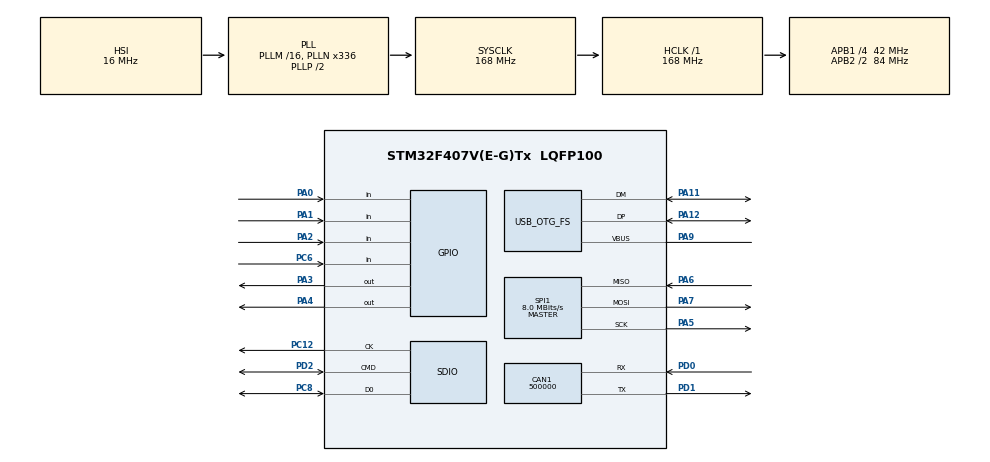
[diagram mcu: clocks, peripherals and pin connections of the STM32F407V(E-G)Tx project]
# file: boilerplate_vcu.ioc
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ADC1.Channel-1\#ChannelRegularConversion=ADC_CHANNEL_10
ADC1.Channel-2\#ChannelRegularConversion=ADC_CHANNEL_11
ADC1.Channel-3\#ChannelRegularConversion=ADC_CHANNEL_12
ADC1.Channel-4\#ChannelRegularConversion=ADC_CHANNEL_13
ADC1.Channel-5\#ChannelRegularConversion=ADC_CHANNEL_14
ADC1.Channel-6\#ChannelRegularConversion=ADC_CHANNEL_15
ADC1.ContinuousConvMode=DISABLE
ADC1.DMAContinuousRequests=ENABLE
ADC1.ExternalTrigConv=ADC_EXTERNALTRIGCONV_T2_TRGO
ADC1.ExternalTrigConvEdge=ADC_EXTERNALTRIGCONVEDGE_RISING
ADC1.InjNumberOfConversion=0
ADC1.NbrOfConversion=6
ADC1.NbrOfConversionFlag=1
ADC1.Rank-1\#ChannelRegularConversion=1
ADC1.Rank-2\#ChannelRegularConversion=2
ADC1.Rank-3\#ChannelRegularConversion=3
ADC1.Rank-4\#ChannelRegularConversion=4
ADC1.Rank-5\#ChannelRegularConversion=5
ADC1.Rank-6\#ChannelRegularConversion=6
ADC1.SamplingTime-1\#ChannelRegularConversion=ADC_SAMPLETIME_84CYCLES
ADC1.master=1
CAN1.CalculateBaudRate=500000
CAN1.CalculateTimeBit=2000
CAN1.CalculateTimeQuantum=142.85714285714286
FREERTOS.Tasks01=defaultTask,24,128,StartDefaultTask,Default,NULL,Dynamic,NULL,NULL
FREERTOS.configUSE_NEWLIB_REENTRANT=1
Mcu.Family=STM32F4
Mcu.Name=STM32F407V(E-G)Tx
Mcu.Package=LQFP100
NVIC.ADC_IRQn=true\:5\:0\:false\:false\:true\:true\:true\:true\:true
NVIC.CAN1_RX0_IRQn=true\:5\:0\:false\:false\:true\:true\:true\:true\:true
NVIC.CAN1_SCE_IRQn=true\:5\:0\:false\:false\:true\:true\:true\:true\:true
NVIC.DMA2_Stream0_IRQn=true\:5\:0\:false\:false\:true\:true\:true\:true\:true
NVIC.OTG_FS_IRQn=true\:5\:0\:false\:false\:true\:true\:true\:true\:true
NVIC.PriorityGroup=NVIC_PRIORITYGROUP_4
NVIC.SDIO_IRQn=true\:5\:0\:false\:false\:true\:true\:true\:true\:true
NVIC.SPI1_IRQn=true\:5\:0\:false\:false\:true\:true\:true\:true\:true
NVIC.TIM6_DAC_IRQn=true\:15\:0\:false\:false\:true\:false\:false\:true\:true
NVIC.TimeBase=TIM6_DAC_IRQn
NVIC.TimeBaseIP=TIM6
PA0-WKUP.Mode=GPIO_Input
PA0-WKUP.Signal=GPIO_Input
PA1.Mode=GPIO_Input
PA1.Signal=GPIO_Input
PA2.Mode=GPIO_Input
PA2.Signal=GPIO_Input
PA3.Mode=GPIO_Output
PA3.Signal=GPIO_Output
PA11.Mode=Device_Only
PA11.Signal=USB_OTG_FS_DM
PA12.Mode=Device_Only
PA12.Signal=USB_OTG_FS_DP
PA13.Mode=Trace_Asynchronous_SW
PA13.Signal=SYS_JTMS-SWDIO
PA14.Mode=Trace_Asynchronous_SW
PA14.Signal=SYS_JTCK-SWCLK
PA4.Mode=GPIO_Output
PA4.Signal=GPIO_Output
PA5.Mode=Full_Duplex_Master
PA5.Signal=SPI1_SCK
PA6.Mode=Full_Duplex_Master
PA6.Signal=SPI1_MISO
PA7.Mode=Full_Duplex_Master
PA7.Signal=SPI1_MOSI
PA9.Mode=Activate_VBUS
PA9.Signal=USB_OTG_FS_VBUS
PB3.Mode=Trace_Asynchronous_SW
PB3.Signal=SYS_JTDO-SWO
PC0.Signal=ADC1_IN10
PC1.Signal=ADC1_IN11
PC2.Signal=ADC1_IN12
PC3.Signal=ADC1_IN13
PC4.Signal=ADC1_IN14
PC5.Signal=ADC1_IN15
PC12.Mode=SD_1_bit
PC12.Signal=SDIO_CK
PC6.Signal=GPIO_Input
PC8.Mode=SD_1_bit
PC8.Signal=SDIO_D0
PD0.Mode=CAN_Activate
PD0.Signal=CAN1_RX
PD1.Mode=CAN_Activate
PD1.Signal=CAN1_TX
PD2.Mode=SD_1_bit
PD2.Signal=SDIO_CMD
ProjectManager.HeapSize=0x200
ProjectManager.StackSize=0x400
ProjectManager.TargetToolchain=STM32CubeIDE
TIM2.MasterOutputTrigger=TIM_TRGO_UPDATE
TIM2.Period=999
TIM2.Prescaler=83
RCC.AHBFreq_Value=168000000
RCC.APB1Freq_Value=42000000
RCC.APB2Freq_Value=84000000
RCC.CortexFreq_Value=168000000
RCC.HSE_VALUE=25000000
RCC.HSI_VALUE=16000000
RCC.LSE_VALUE=32768
RCC.PLLSource=RCC_PLLSOURCE_HSI
RCC.PLLSourceVirtualString=RCC_PLLSOURCE_HSI
RCC.SYSCLKFreq_VALUE=168000000
RCC.VCOOutputFreq_Value=336000000
SH.ADCx_IN10.0=ADC1_IN10,IN10
SH.ADCx_IN11.0=ADC1_IN11,IN11
SH.ADCx_IN12.0=ADC1_IN12,IN12
SH.ADCx_IN13.0=ADC1_IN13,IN13
SH.ADCx_IN14.0=ADC1_IN14,IN14
SH.ADCx_IN15.0=ADC1_IN15,IN15
SPI1.CalculateBaudRate=8.0 MBits/s
SPI1.Direction=SPI_DIRECTION_2LINES
SPI1.Mode=SPI_MODE_MASTER
SPI1.VirtualNSS=VM_NSSSOFT
SPI1.VirtualType=VM_MASTER
USB_OTG_FS.VirtualMode=Device_Only
VP_FREERTOS_VS_CMSIS_V2.Mode=CMSIS_V2
VP_IWDG_VS_IWDG.Mode=IWDG_Activate
VP_SYS_VS_tim6.Mode=TIM6
board=custom
PC0.Signal=ADC1_IN10
PC1.Signal=ADC1_IN11
PC2.Signal=ADC1_IN12
PC3.Signal=ADC1_IN13
PC4.Signal=ADC1_IN14
PC5.Signal=ADC1_IN15

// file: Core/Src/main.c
/* USER CODE BEGIN Header */
/**
  ******************************************************************************
  * @file           : main.c
  * @brief          : Main program body
  ******************************************************************************
  * @attention
  *
  * Copyright (c) 2025 STMicroelectronics.
  * All rights reserved.
  *
  * This software is licensed under terms that can be found in the LICENSE file
  * in the root directory of this software component.
  * If no LICENSE file comes with this software, it is provided AS-IS.
  *
  ******************************************************************************
  */
/* USER CODE END Header */
#include "main.h"
#include "cmsis_os.h"
#include "fatfs.h"
#include "app.h"

/* USER CODE BEGIN Includes */
#include "Peripherals/adc.h"
#include "Peripherals/can_bus.h"
#include "Peripherals/can_rx_filter.h"
#include "Peripherals/digital_pins.h"
#include "Peripherals/usb_conf.h"
#include "stm32f4xx_hal_adc.h"
/* USER CODE END Includes */

ADC_HandleTypeDef hadc1;
DMA_HandleTypeDef hdma_adc1;

CAN_HandleTypeDef hcan1;

IWDG_HandleTypeDef hiwdg;

SD_HandleTypeDef hsd;

SPI_HandleTypeDef hspi1;

TIM_HandleTypeDef htim2;

PCD_HandleTypeDef hpcd_USB_OTG_FS;

/* Definitions for defaultTask */
// osThreadId_t defaultTaskHandle;
// const osThreadAttr_t defaultTask_attributes = {
//   .name = "defaultTask",
//   .stack_size = 128 * 4,
//   .priority = (osPriority_t) osPriorityNormal,
// };

void SystemClock_Config(void);
static void MX_GPIO_Init(void);
static void MX_ADC1_Init(void);
static void MX_CAN1_Init(void);
static void MX_IWDG_Init(void);
static void MX_SPI1_Init(void);
static void MX_TIM2_Init(void);
static void MX_USB_OTG_FS_PCD_Init(void);
static void MX_SDIO_SD_Init(void);
void StartDefaultTask(void *argument);

int main(void)
{

  /* MCU Configuration--------------------------------------------------------*/

  /* Reset of all peripherals, Initializes the Flash interface and the Systick. */
  HAL_Init();

  /* USER CODE BEGIN Init */
  sd_card_owner = MCU_SD_CARD;
  /* USER CODE END Init */

  /* Configure the system clock */
  SystemClock_Config();

  /* Initialize all configured peripherals */
  MX_GPIO_Init();
#if VCU_IWDG_ENABLE
  /* Cover every subsequent peripheral/task initialization failure. Hardware
   * must independently keep the inverter disabled throughout reset and boot. */
  MX_IWDG_Init();
#endif
  MX_ADC1_Init();
  MX_TIM2_Init();
  MX_CAN1_Init();
  MX_SPI1_Init();
  MX_USB_OTG_FS_PCD_Init();
  MX_SDIO_SD_Init();
  MX_FATFS_Init();
  /* USER CODE BEGIN 2 */
  adc_acquisition_init();
  if (HAL_ADC_Start_DMA(&hadc1, (uint32_t*)adc_dma_buffer,
      ADC_DMA_BUFFER_COUNT) != HAL_OK ||
      HAL_TIM_Base_Start(&htim2) != HAL_OK)
  {
    Error_Handler();
  }
  /* USER CODE END 2 */

  /* Init scheduler */
  osKernelInitialize();

  /* Create the thread(s) */
  /* USER CODE BEGIN RTOS_THREADS */
  create_app();
  /* Start reception only after static queues and task notification handles
   * exist, so no accepted startup frame can enter an unowned software path. */
  if (can_rx_configure_filters(&hcan1) != HAL_OK ||
      HAL_CAN_Start(&hcan1) != HAL_OK ||
      HAL_CAN_ActivateNotification(&hcan1,
          CAN_IT_RX_FIFO0_MSG_PENDING | CAN_IT_ERROR | CAN_IT_BUSOFF) != HAL_OK)
  {
    Error_Handler();
  }
  /* All configured peripherals, queues, tasks, ADC acquisition, and CAN
   * reception are established. State-machine torque enable remains gated by
   * this flag and by its independent runtime prerequisites. */
  app.boot_healthy = 1U;
  /* USER CODE END RTOS_THREADS */

  /* Start scheduler */
  osKernelStart();

  /* We should never get here as control is now taken by the scheduler */

  /* Infinite loop */
  while (1)
  {

  }
}

void SystemClock_Config(void)
{
  RCC_OscInitTypeDef RCC_OscInitStruct = {0};
  RCC_ClkInitTypeDef RCC_ClkInitStruct = {0};

  /** Configure the main internal regulator output voltage
  */
  __HAL_RCC_PWR_CLK_ENABLE();
  __HAL_PWR_VOLTAGESCALING_CONFIG(PWR_REGULATOR_VOLTAGE_SCALE1);

  /** Initializes the RCC Oscillators according to the specified parameters
  * in the RCC_OscInitTypeDef structure.
  */
  RCC_OscInitStruct.OscillatorType = RCC_OSCILLATORTYPE_HSI|RCC_OSCILLATORTYPE_LSI;
  RCC_OscInitStruct.HSIState = RCC_HSI_ON;
  RCC_OscInitStruct.HSICalibrationValue = RCC_HSICALIBRATION_DEFAULT;
  RCC_OscInitStruct.LSIState = RCC_LSI_ON;
  RCC_OscInitStruct.PLL.PLLState = RCC_PLL_ON;
  RCC_OscInitStruct.PLL.PLLSource = RCC_PLLSOURCE_HSI;
  RCC_OscInitStruct.PLL.PLLM = 16;
  /* HSI 16 MHz / 16 * 336 / 2 = 168 MHz SYSCLK; PLLQ keeps USB at 48 MHz. */
  RCC_OscInitStruct.PLL.PLLN = 336;
  RCC_OscInitStruct.PLL.PLLP = RCC_PLLP_DIV2;
  RCC_OscInitStruct.PLL.PLLQ = 7;
  if (HAL_RCC_OscConfig(&RCC_OscInitStruct) != HAL_OK)
  {
    Error_Handler();
  }

  /** Initializes the CPU, AHB and APB buses clocks
  */
  RCC_ClkInitStruct.ClockType = RCC_CLOCKTYPE_HCLK|RCC_CLOCKTYPE_SYSCLK
                              |RCC_CLOCKTYPE_PCLK1|RCC_CLOCKTYPE_PCLK2;
  RCC_ClkInitStruct.SYSCLKSource = RCC_SYSCLKSOURCE_PLLCLK;
  RCC_ClkInitStruct.AHBCLKDivider = RCC_SYSCLK_DIV1;
  RCC_ClkInitStruct.APB1CLKDivider = RCC_HCLK_DIV4;
  RCC_ClkInitStruct.APB2CLKDivider = RCC_HCLK_DIV2;

  if (HAL_RCC_ClockConfig(&RCC_ClkInitStruct, FLASH_LATENCY_5) != HAL_OK)
  {
    Error_Handler();
  }
}

static void MX_ADC1_Init(void)
{

  ADC_ChannelConfTypeDef sConfig = {0};

  /** Configure the global features of the ADC (Clock, Resolution, Data Alignment and number of conversion)
  */
  hadc1.Instance = ADC1;
  /* PCLK2 is 84 MHz; /4 keeps the ADC clock within the F407 limit. */
  hadc1.Init.ClockPrescaler = ADC_CLOCK_SYNC_PCLK_DIV4;
  hadc1.Init.Resolution = ADC_RESOLUTION_12B;
  hadc1.Init.ScanConvMode = ENABLE;
  hadc1.Init.ContinuousConvMode = DISABLE;
  hadc1.Init.DiscontinuousConvMode = DISABLE;
  hadc1.Init.ExternalTrigConvEdge = ADC_EXTERNALTRIGCONVEDGE_RISING;
  hadc1.Init.ExternalTrigConv = ADC_EXTERNALTRIGCONV_T2_TRGO;
  hadc1.Init.DataAlign = ADC_DATAALIGN_RIGHT;
  hadc1.Init.NbrOfConversion = ADC_CHANNEL_COUNT;
  hadc1.Init.DMAContinuousRequests = ENABLE;
  hadc1.Init.EOCSelection = ADC_EOC_SEQ_CONV;
  if (HAL_ADC_Init(&hadc1) != HAL_OK)
  {
    Error_Handler();
  }

  /** Configure for the selected ADC regular channel its corresponding rank in the sequencer and its sample time.
  */
  sConfig.SamplingTime = ADC_SAMPLETIME_84CYCLES;
  const uint32_t adc_channels[ADC_CHANNEL_COUNT] = {
    ADC_CHANNEL_10, ADC_CHANNEL_11, ADC_CHANNEL_12,
    ADC_CHANNEL_13, ADC_CHANNEL_14, ADC_CHANNEL_15
  };
  for (uint32_t rank = 0; rank < ADC_CHANNEL_COUNT; rank++)
  {
    sConfig.Channel = adc_channels[rank];
    sConfig.Rank = rank + 1U;
    if (HAL_ADC_ConfigChannel(&hadc1, &sConfig) != HAL_OK)
    {
      Error_Handler();
    }
  }

}

static void MX_CAN1_Init(void)
{

  hcan1.Instance = CAN1;
  /* 42 MHz PCLK1 / (6 * (1 + 11 + 2)) = 500 kbit/s. */
  hcan1.Init.Prescaler = 6;
  hcan1.Init.Mode = CAN_MODE_NORMAL;
  hcan1.Init.SyncJumpWidth = CAN_SJW_1TQ;
  hcan1.Init.TimeSeg1 = CAN_BS1_11TQ;
  hcan1.Init.TimeSeg2 = CAN_BS2_2TQ;
  hcan1.Init.TimeTriggeredMode = DISABLE;
  hcan1.Init.AutoBusOff = ENABLE;
  hcan1.Init.AutoWakeUp = DISABLE;
  hcan1.Init.AutoRetransmission = ENABLE;
  hcan1.Init.ReceiveFifoLocked = DISABLE;
  hcan1.Init.TransmitFifoPriority = DISABLE;
  if (HAL_CAN_Init(&hcan1) != HAL_OK)
  {
    Error_Handler();
  }

}

static void MX_TIM2_Init(void)
{
  TIM_ClockConfigTypeDef sClockSourceConfig = {0};
  TIM_MasterConfigTypeDef sMasterConfig = {0};

  /* APB1 timer clock is 84 MHz: /84 /1000 = 1 kHz update/TRGO. */
  htim2.Instance = TIM2;
  htim2.Init.Prescaler = 83;
  htim2.Init.CounterMode = TIM_COUNTERMODE_UP;
  htim2.Init.Period = 999;
  htim2.Init.ClockDivision = TIM_CLOCKDIVISION_DIV1;
  htim2.Init.AutoReloadPreload = TIM_AUTORELOAD_PRELOAD_DISABLE;
  if (HAL_TIM_Base_Init(&htim2) != HAL_OK)
  {
    Error_Handler();
  }
  sClockSourceConfig.ClockSource = TIM_CLOCKSOURCE_INTERNAL;
  if (HAL_TIM_ConfigClockSource(&htim2, &sClockSourceConfig) != HAL_OK)
  {
    Error_Handler();
  }
  sMasterConfig.MasterOutputTrigger = TIM_TRGO_UPDATE;
  sMasterConfig.MasterSlaveMode = TIM_MASTERSLAVEMODE_DISABLE;
  if (HAL_TIMEx_MasterConfigSynchronization(&htim2, &sMasterConfig) != HAL_OK)
  {
    Error_Handler();
  }
}

static void MX_IWDG_Init(void)
{

  hiwdg.Instance = IWDG;
  /* Nominally about 8.2 s at a 32 kHz LSI; the supervisor window is 3 s. */
  hiwdg.Init.Prescaler = IWDG_PRESCALER_64;
  hiwdg.Init.Reload = 4095;
  if (HAL_IWDG_Init(&hiwdg) != HAL_OK)
  {
    Error_Handler();
  }

}

static void MX_SDIO_SD_Init(void)
{

  hsd.Instance = SDIO;
  hsd.Init.ClockEdge = SDIO_CLOCK_EDGE_RISING;
  hsd.Init.ClockBypass = SDIO_CLOCK_BYPASS_DISABLE;
  hsd.Init.ClockPowerSave = SDIO_CLOCK_POWER_SAVE_DISABLE;
  hsd.Init.BusWide = SDIO_BUS_WIDE_1B;
  hsd.Init.HardwareFlowControl = SDIO_HARDWARE_FLOW_CONTROL_DISABLE;
  hsd.Init.ClockDiv = 0;

}

static void MX_SPI1_Init(void)
{

  /* SPI1 parameter configuration*/
  hspi1.Instance = SPI1;
  hspi1.Init.Mode = SPI_MODE_MASTER;
  hspi1.Init.Direction = SPI_DIRECTION_2LINES;
  hspi1.Init.DataSize = SPI_DATASIZE_8BIT;
  hspi1.Init.CLKPolarity = SPI_POLARITY_LOW;
  hspi1.Init.CLKPhase = SPI_PHASE_1EDGE;
  hspi1.Init.NSS = SPI_NSS_SOFT;
  hspi1.Init.BaudRatePrescaler = SPI_BAUDRATEPRESCALER_2;
  hspi1.Init.FirstBit = SPI_FIRSTBIT_MSB;
  hspi1.Init.TIMode = SPI_TIMODE_DISABLE;
  hspi1.Init.CRCCalculation = SPI_CRCCALCULATION_DISABLE;
  hspi1.Init.CRCPolynomial = 10;
  if (HAL_SPI_Init(&hspi1) != HAL_OK)
  {
    Error_Handler();
  }

}

static void MX_USB_OTG_FS_PCD_Init(void)
{

  hpcd_USB_OTG_FS.Instance = USB_OTG_FS;
  hpcd_USB_OTG_FS.Init.dev_endpoints = 4;
  hpcd_USB_OTG_FS.Init.speed = PCD_SPEED_FULL;
  hpcd_USB_OTG_FS.Init.dma_enable = DISABLE;
  hpcd_USB_OTG_FS.Init.phy_itface = PCD_PHY_EMBEDDED;
  hpcd_USB_OTG_FS.Init.Sof_enable = DISABLE;
  hpcd_USB_OTG_FS.Init.low_power_enable = DISABLE;
  hpcd_USB_OTG_FS.Init.lpm_enable = DISABLE;
  hpcd_USB_OTG_FS.Init.vbus_sensing_enable = ENABLE;
  hpcd_USB_OTG_FS.Init.use_dedicated_ep1 = DISABLE;
  if (HAL_PCD_Init(&hpcd_USB_OTG_FS) != HAL_OK)
  {
    Error_Handler();
  }

}

static void MX_GPIO_Init(void)
{
  GPIO_InitTypeDef GPIO_InitStruct = {0};
  /* USER CODE BEGIN MX_GPIO_Init_1 */
  GPIO_InitTypeDef TSMS_GPIO = {0};
  GPIO_InitTypeDef R2D_GPIO = {0};
  GPIO_InitTypeDef BMS_GPIO = {0};
  /* USER CODE END MX_GPIO_Init_1 */

  /* GPIO Ports Clock Enable */
  __HAL_RCC_GPIOA_CLK_ENABLE();
  __HAL_RCC_GPIOC_CLK_ENABLE();
  __HAL_RCC_GPIOD_CLK_ENABLE();
  __HAL_RCC_GPIOB_CLK_ENABLE();
  __HAL_RCC_GPIOA_CLK_ENABLE();

  HAL_GPIO_WritePin(GPIOA, BRAKE_LIGHT_PIN, GPIO_PIN_RESET);
  HAL_GPIO_WritePin(GPIOA, HOOP_LIGHT_PIN, GPIO_PIN_SET);

  GPIO_InitStruct.Pin = BRAKE_LIGHT_PIN | HOOP_LIGHT_PIN;
  GPIO_InitStruct.Mode = GPIO_MODE_OUTPUT_PP;
  GPIO_InitStruct.Pull = GPIO_NOPULL;
  GPIO_InitStruct.Speed = GPIO_SPEED_FREQ_LOW;
  HAL_GPIO_Init(GPIOA, &GPIO_InitStruct);

  /*Configure GPIO pin : PC6 */
  GPIO_InitStruct.Pin = GPIO_PIN_6;
  GPIO_InitStruct.Mode = GPIO_MODE_INPUT;
  GPIO_InitStruct.Pull = GPIO_NOPULL;
  HAL_GPIO_Init(GPIOC, &GPIO_InitStruct);

  /* USER CODE BEGIN MX_GPIO_Init_2 */
  TSMS_GPIO.Pin = TSMS_PIN;
  TSMS_GPIO.Mode = GPIO_MODE_INPUT;   // Input mode
  TSMS_GPIO.Pull = GPIO_PULLUP;       // Pull-up resistor
  HAL_GPIO_Init(GPIOA, &TSMS_GPIO);

  R2D_GPIO.Pin = R2D_PIN;
  R2D_GPIO.Mode = GPIO_MODE_INPUT;   // Input mode
  R2D_GPIO.Pull = GPIO_PULLUP;       // Pull-up resistor
  HAL_GPIO_Init(GPIOA, &R2D_GPIO);

  BMS_GPIO.Pin = BMS_PIN;
  BMS_GPIO.Mode = GPIO_MODE_INPUT;   // Input mode
  BMS_GPIO.Pull = GPIO_PULLUP;       // Pull-up resistor
  HAL_GPIO_Init(GPIOA, &BMS_GPIO);
  /* USER CODE END MX_GPIO_Init_2 */
}

void StartDefaultTask(void *argument)
{
  (void)argument;
  for(;;)
  {
    osDelay(1);
  }
}

void HAL_TIM_PeriodElapsedCallback(TIM_HandleTypeDef *htim)
{
  if (htim->Instance == TIM6)
  {
    HAL_IncTick();
  }
}

void Error_Handler(void)
{
  /* USER CODE BEGIN Error_Handler_Debug */
  __disable_irq();
  app.boot_healthy = 0U;
  app.car_state = CAR_IDLE;
  app.ready_to_drive = 0U;
  app.rtd_sound_active = 0U;
  app.motorControl.torqueCommand = 0U;
  app.motorControl.lastTorqueCommand = 0U;
  app.can_bus.tx_safety.inhibit_requested = 1U;
  app.can_bus.tx_safety.fault_latched = 1U;

  /* Establish the only available local fault indication even when failure
   * happened before normal GPIO initialization completed. PA4 is not a
   * substitute for the rule-required hardwired RTM lights or TSSI. */
  __HAL_RCC_GPIOA_CLK_ENABLE();
  {
    GPIO_InitTypeDef fault_gpio = {0};
    HAL_GPIO_WritePin(GPIOA, BRAKE_LIGHT_PIN, GPIO_PIN_RESET);
    HAL_GPIO_WritePin(GPIOA, HOOP_LIGHT_PIN, GPIO_PIN_SET);
    fault_gpio.Pin = BRAKE_LIGHT_PIN | HOOP_LIGHT_PIN;
    fault_gpio.Mode = GPIO_MODE_OUTPUT_PP;
    fault_gpio.Pull = GPIO_NOPULL;
    fault_gpio.Speed = GPIO_SPEED_FREQ_LOW;
    HAL_GPIO_Init(GPIOA, &fault_gpio);
  }

  /* A software reset records RCC_FLAG_SFTRST and avoids an indefinitely hung
   * pre-scheduler processor. The early IWDG remains the fallback if reset does
   * not complete. System-level torque safety must not rely on either reset. */
  NVIC_SystemReset();
  while (1)
  {
  }
  /* USER CODE END Error_Handler_Debug */
}

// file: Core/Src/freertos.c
/* USER CODE BEGIN Header */
/**
  ******************************************************************************
  * File Name          : freertos.c
  * Description        : Code for freertos applications
  ******************************************************************************
  * @attention
  *
  * Copyright (c) 2025 STMicroelectronics.
  * All rights reserved.
  *
  * This software is licensed under terms that can be found in the LICENSE file
  * in the root directory of this software component.
  * If no LICENSE file comes with this software, it is provided AS-IS.
  *
  ******************************************************************************
  */
/* USER CODE END Header */

#include "FreeRTOS.h"
#include "task.h"
#include "main.h"

/* USER CODE BEGIN Application */

void vcu_assert_failed(const char *file, int line)
{
  (void)file;
  (void)line;
  Error_Handler();
}

void vApplicationMallocFailedHook(void)
{
  Error_Handler();
}

void vApplicationStackOverflowHook(TaskHandle_t task, char *task_name)
{
  (void)task;
  (void)task_name;
  Error_Handler();
}

/* USER CODE END Application */
